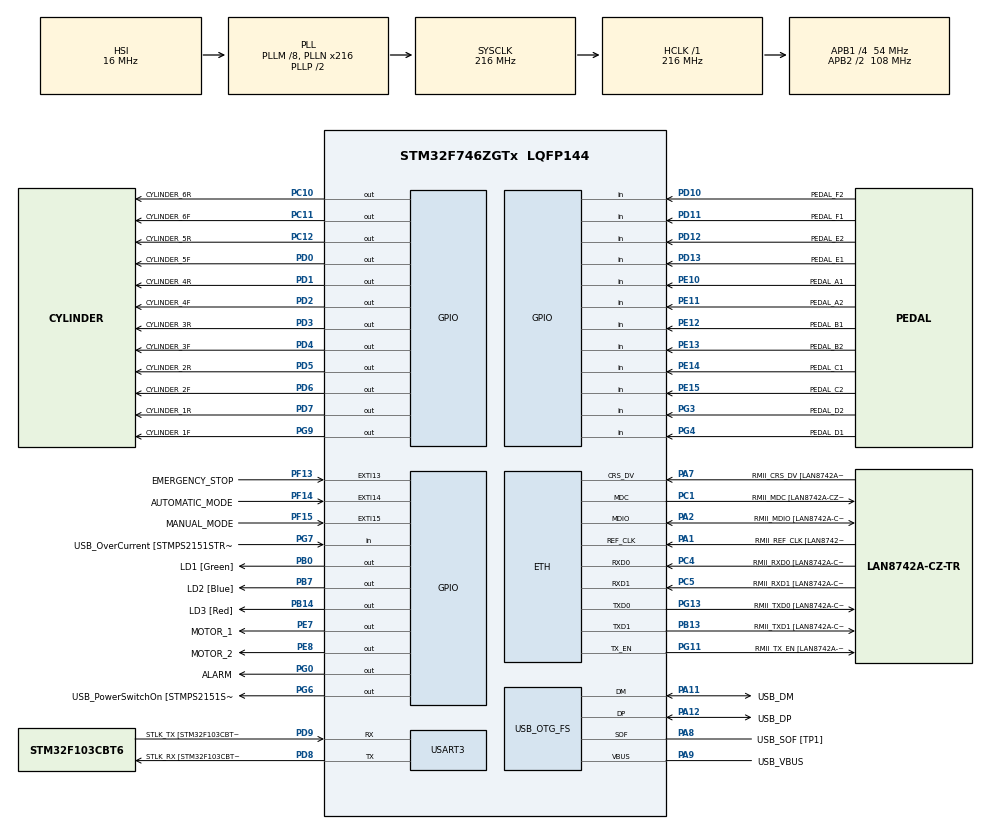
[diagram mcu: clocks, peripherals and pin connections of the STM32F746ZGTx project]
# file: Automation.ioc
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ETH.MediaInterface=ETH_MEDIA_INTERFACE_RMII
ETH.PHY_Name=LAN8742A_PHY_ADDRESS
ETH.PHY_Value=0
ETH.PhyAddress=0
Mcu.Family=STM32F7
Mcu.Name=STM32F746ZGTx
Mcu.Package=LQFP144
NVIC.EXTI15_10_IRQn=true\:0\:0\:false\:false\:true\:true\:true
NVIC.PriorityGroup=NVIC_PRIORITYGROUP_4
NVIC.TIM1_BRK_TIM9_IRQn=true\:0\:0\:false\:false\:true\:true\:true
NVIC.TIM1_CC_IRQn=true\:0\:0\:false\:false\:true\:true\:true
NVIC.TIM1_TRG_COM_TIM11_IRQn=true\:0\:0\:false\:false\:true\:true\:true
NVIC.TIM1_UP_TIM10_IRQn=true\:0\:0\:false\:false\:true\:true\:true
NVIC.TIM2_IRQn=true\:0\:0\:false\:false\:true\:true\:true
NVIC.TIM3_IRQn=true\:0\:0\:false\:false\:true\:true\:true
NVIC.TIM4_IRQn=true\:0\:0\:false\:false\:true\:true\:true
NVIC.TIM5_IRQn=true\:0\:0\:false\:false\:true\:true\:true
NVIC.TIM6_DAC_IRQn=true\:0\:0\:false\:false\:true\:true\:true
PA1.GPIO_Label=RMII_REF_CLK [LAN8742A-CZ-TR_REFCLK0]
PA1.Mode=RMII
PA1.Signal=ETH_REF_CLK
PA10.GPIO_Label=USB_ID
PA10.Signal=USB_OTG_FS_ID
PA11.GPIO_Label=USB_DM
PA11.Mode=Device_Only
PA11.Signal=USB_OTG_FS_DM
PA12.GPIO_Label=USB_DP
PA12.Mode=Device_Only
PA12.Signal=USB_OTG_FS_DP
PA13.GPIO_Label=TMS
PA13.Mode=Serial_Wire
PA13.Signal=SYS_JTMS-SWDIO
PA14.GPIO_Label=TCK
PA14.Mode=Serial_Wire
PA14.Signal=SYS_JTCK-SWCLK
PA2.GPIO_Label=RMII_MDIO [LAN8742A-CZ-TR_MDIO]
PA2.Mode=RMII
PA2.Signal=ETH_MDIO
PA7.GPIO_Label=RMII_CRS_DV [LAN8742A-CZ-TR_CRS_DV]
PA7.Mode=RMII
PA7.Signal=ETH_CRS_DV
PA8.GPIO_Label=USB_SOF [TP1]
PA8.Mode=Activate_SOF_FS
PA8.Signal=USB_OTG_FS_SOF
PA9.GPIO_Label=USB_VBUS
PA9.Mode=Activate_VBUS
PA9.Signal=USB_OTG_FS_VBUS
PB0.GPIO_Label=LD1 [Green]
PB0.Signal=GPIO_Output
PB13.GPIO_Label=RMII_TXD1 [LAN8742A-CZ-TR_TXD1]
PB13.Mode=RMII
PB13.Signal=ETH_TXD1
PB14.GPIO_Label=LD3 [Red]
PB14.Signal=GPIO_Output
PB3.GPIO_Label=SW0
PB3.Signal=SYS_JTDO-SWO
PB7.GPIO_Label=LD2 [Blue]
PB7.Signal=GPIO_Output
PC1.GPIO_Label=RMII_MDC [LAN8742A-CZ-TR_MDC]
PC1.Mode=RMII
PC1.Signal=ETH_MDC
PC10.GPIO_Label=CYLINDER_6R
PC10.Signal=GPIO_Output
PC11.GPIO_Label=CYLINDER_6F
PC11.Signal=GPIO_Output
PC12.GPIO_Label=CYLINDER_5R
PC12.Signal=GPIO_Output
PC14/OSC32_IN.Signal=RCC_OSC32_IN
PC15/OSC32_OUT.Signal=RCC_OSC32_OUT
PC4.GPIO_Label=RMII_RXD0 [LAN8742A-CZ-TR_RXD0]
PC4.Mode=RMII
PC4.Signal=ETH_RXD0
PC5.GPIO_Label=RMII_RXD1 [LAN8742A-CZ-TR_RXD1]
PC5.Mode=RMII
PC5.Signal=ETH_RXD1
PD0.GPIO_Label=CYLINDER_5F
PD0.Signal=GPIO_Output
PD1.GPIO_Label=CYLINDER_4R
PD1.Signal=GPIO_Output
PD10.GPIO_Label=PEDAL_F2
PD10.Signal=GPIO_Input
PD11.GPIO_Label=PEDAL_F1
PD11.Signal=GPIO_Input
PD12.GPIO_Label=PEDAL_E2
PD12.Signal=GPIO_Input
PD13.GPIO_Label=PEDAL_E1
PD13.Signal=GPIO_Input
PD2.GPIO_Label=CYLINDER_4F
PD2.Signal=GPIO_Output
PD3.GPIO_Label=CYLINDER_3R
PD3.Signal=GPIO_Output
PD4.GPIO_Label=CYLINDER_3F
PD4.Signal=GPIO_Output
PD5.GPIO_Label=CYLINDER_2R
PD5.Signal=GPIO_Output
PD6.GPIO_Label=CYLINDER_2F
PD6.Signal=GPIO_Output
PD7.GPIO_Label=CYLINDER_1R
PD7.Signal=GPIO_Output
PD8.GPIO_Label=STLK_RX [STM32F103CBT6_PA3]
PD8.Mode=Asynchronous
PD8.Signal=USART3_TX
PD9.GPIO_Label=STLK_TX [STM32F103CBT6_PA2]
PD9.Mode=Asynchronous
PD9.Signal=USART3_RX
PE10.GPIO_Label=PEDAL_A1
PE10.Signal=GPIO_Input
PE11.GPIO_Label=PEDAL_A2
PE11.Signal=GPIO_Input
PE12.GPIO_Label=PEDAL_B1
PE12.Signal=GPIO_Input
PE13.GPIO_Label=PEDAL_B2
PE13.Signal=GPIO_Input
PE14.GPIO_Label=PEDAL_C1
PE14.Signal=GPIO_Input
PE15.GPIO_Label=PEDAL_C2
PE15.Signal=GPIO_Input
PE7.GPIO_Label=MOTOR_1
PE7.Signal=GPIO_Output
PE8.GPIO_Label=MOTOR_2
PE8.Signal=GPIO_Output
PF13.GPIO_Label=EMERGENCY_STOP
PF13.Signal=GPXTI13
PF14.GPIO_Label=AUTOMATIC_MODE
PF14.Signal=GPXTI14
PF15.GPIO_Label=MANUAL_MODE
PF15.Signal=GPXTI15
PG0.GPIO_Label=ALARM
PG0.Signal=GPIO_Output
PG11.GPIO_Label=RMII_TX_EN [LAN8742A-CZ-TR_TXEN]
PG11.Mode=RMII
PG11.Signal=ETH_TX_EN
PG13.GPIO_Label=RMII_TXD0 [LAN8742A-CZ-TR_TXD0]
PG13.Mode=RMII
PG13.Signal=ETH_TXD0
PG3.GPIO_Label=PEDAL_D2
PG3.Signal=GPIO_Input
PG4.GPIO_Label=PEDAL_D1
PG4.Signal=GPIO_Input
PG6.GPIO_Label=USB_PowerSwitchOn [STMPS2151STR_EN]
PG6.Signal=GPIO_Output
PG7.GPIO_Label=USB_OverCurrent [STMPS2151STR_FAULT]
PG7.Signal=GPIO_Input
PG9.GPIO_Label=CYLINDER_1F
PG9.Signal=GPIO_Output
PH0/OSC_IN.GPIO_Label=MCO [STM32F103CBT6_PA8]
PH0/OSC_IN.Signal=RCC_OSC_IN
PH1/OSC_OUT.Signal=RCC_OSC_OUT
ProjectManager.HeapSize=0x200
ProjectManager.StackSize=0x400
ProjectManager.TargetToolchain=STM32CubeIDE
RCC.48MHZClocksFreq_Value=24000000
RCC.AHBFreq_Value=216000000
RCC.APB1CLKDivider=RCC_HCLK_DIV4
RCC.APB1Freq_Value=54000000
RCC.APB1TimFreq_Value=108000000
RCC.APB2CLKDivider=RCC_HCLK_DIV2
RCC.APB2Freq_Value=108000000
RCC.APB2TimFreq_Value=216000000
RCC.CortexFreq_Value=216000000
RCC.HCLKFreq_Value=216000000
RCC.HSE_VALUE=8000000
RCC.HSI_VALUE=16000000
RCC.PLLM=8
RCC.PLLMUL=RCC_PLL_MUL9
RCC.PLLN=216
RCC.PLLQ=12
RCC.PLLSourceVirtualString=RCC_PLLSOURCE_HSI
RCC.PRESCALERUSB=RCC_USBCLKSOURCE_PLL_DIV1_5
RCC.SYSCLKFreq_VALUE=216000000
RCC.SYSCLKSource=RCC_SYSCLKSOURCE_PLLCLK
RCC.SYSCLKSourceVirtual=RCC_SYSCLKSOURCE_PLLCLK
RCC.USBFreq_Value=36000000
RCC.VCOOutputFreq_Value=432000000
USART3.VirtualMode-Asynchronous=VM_ASYNC
USB_OTG_FS.VirtualMode=Device_Only
VP_TIM1_VS_ClockSourceINT.Mode=Internal
VP_TIM2_VS_ClockSourceINT.Mode=Internal
VP_TIM3_VS_ClockSourceINT.Mode=Internal
VP_TIM4_VS_ClockSourceINT.Mode=Internal
VP_TIM5_VS_ClockSourceINT.Mode=Internal
VP_TIM6_VS_ClockSourceINT.Mode=Enable_Timer
board=NUCLEO-F746ZG

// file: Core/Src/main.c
/* USER CODE BEGIN Header */
/**
  ******************************************************************************
  * @file           : main.c
  * @brief          : Main program body
  ******************************************************************************
  * @attention
  *
  * <h2><center>&copy; Copyright (c) 2020 STMicroelectronics.
  * All rights reserved.</center></h2>
  *
  * This software component is licensed by ST under BSD 3-Clause license,
  * the "License"; You may not use this file except in compliance with the
  * License. You may obtain a copy of the License at:
  *                        opensource.org/licenses/BSD-3-Clause
  *
  ******************************************************************************
  */
/* USER CODE END Header */

#include "main.h"
#include "eth.h"
#include "tim.h"
#include "usart.h"
#include "usb_otg.h"
#include "gpio.h"

/* USER CODE BEGIN Includes */
#include "stdbool.h"
/* USER CODE END Includes */

/* USER CODE BEGIN PV */

Pedal_s Pedal_status;
extern Pedal_s Pedal_data;
uint8_t Machine_Mode=AUTOMATIC;

/* USER CODE END PV */

void SystemClock_Config(void);

int main(void)
{

  /* MCU Configuration--------------------------------------------------------*/

  /* Reset of all peripherals, Initializes the Flash interface and the Systick. */
  HAL_Init();

  /* Configure the system clock */
  SystemClock_Config();

  /* Initialize all configured peripherals */
  MX_GPIO_Init();
  MX_ETH_Init();
  MX_TIM1_Init();
  MX_TIM2_Init();
  MX_TIM3_Init();
  MX_TIM4_Init();
  MX_TIM5_Init();
  MX_USART3_UART_Init();
  MX_USB_OTG_FS_PCD_Init();
  MX_TIM6_Init();
  /* USER CODE BEGIN 2 */
 while(1)
 {
		HAL_GPIO_WritePin(LD1_GPIO_Port, LD1_Pin, GPIO_PIN_SET);
			HAL_GPIO_WritePin(LD2_GPIO_Port, LD2_Pin, GPIO_PIN_SET);
			HAL_GPIO_WritePin(LD3_GPIO_Port, LD3_Pin, GPIO_PIN_SET);
			HAL_Delay(500);
			HAL_GPIO_WritePin(LD1_GPIO_Port, LD1_Pin, GPIO_PIN_RESET);
				HAL_GPIO_WritePin(LD2_GPIO_Port, LD2_Pin, GPIO_PIN_RESET);
				HAL_GPIO_WritePin(LD3_GPIO_Port, LD3_Pin, GPIO_PIN_RESET);
				HAL_Delay(500);
 }
  /* USER CODE END 2 */

  /* Infinite loop */
  while (1)
  {

    /* USER CODE BEGIN 3 */

	  switch (Machine_Mode)
	  {
	   case AUTOMATIC      : Run_AutomaticMode();
	                         break;

	   case MANUAL         : Run_ManualMode();
	  	  	  	  	         break;

	   case EMERGENCY_STOP : Stop_Machine();
	   	   	   	   	   	   	 break;

	   default             : break;
	  }

  }
  /* USER CODE END 3 */
}

void SystemClock_Config(void)
{
  RCC_OscInitTypeDef RCC_OscInitStruct = {0};
  RCC_ClkInitTypeDef RCC_ClkInitStruct = {0};
  RCC_PeriphCLKInitTypeDef PeriphClkInitStruct = {0};

  /** Configure the main internal regulator output voltage
  */
  __HAL_RCC_PWR_CLK_ENABLE();
  __HAL_PWR_VOLTAGESCALING_CONFIG(PWR_REGULATOR_VOLTAGE_SCALE1);
  /** Initializes the CPU, AHB and APB busses clocks
  */
  RCC_OscInitStruct.OscillatorType = RCC_OSCILLATORTYPE_HSI;
  RCC_OscInitStruct.HSIState = RCC_HSI_ON;
  RCC_OscInitStruct.HSICalibrationValue = RCC_HSICALIBRATION_DEFAULT;
  RCC_OscInitStruct.PLL.PLLState = RCC_PLL_ON;
  RCC_OscInitStruct.PLL.PLLSource = RCC_PLLSOURCE_HSI;
  RCC_OscInitStruct.PLL.PLLM = 8;
  RCC_OscInitStruct.PLL.PLLN = 216;
  RCC_OscInitStruct.PLL.PLLP = RCC_PLLP_DIV2;
  RCC_OscInitStruct.PLL.PLLQ = 12;
  if (HAL_RCC_OscConfig(&RCC_OscInitStruct) != HAL_OK)
  {
    Error_Handler();
  }
  /** Activate the Over-Drive mode
  */
  if (HAL_PWREx_EnableOverDrive() != HAL_OK)
  {
    Error_Handler();
  }
  /** Initializes the CPU, AHB and APB busses clocks
  */
  RCC_ClkInitStruct.ClockType = RCC_CLOCKTYPE_HCLK|RCC_CLOCKTYPE_SYSCLK
                              |RCC_CLOCKTYPE_PCLK1|RCC_CLOCKTYPE_PCLK2;
  RCC_ClkInitStruct.SYSCLKSource = RCC_SYSCLKSOURCE_PLLCLK;
  RCC_ClkInitStruct.AHBCLKDivider = RCC_SYSCLK_DIV1;
  RCC_ClkInitStruct.APB1CLKDivider = RCC_HCLK_DIV4;
  RCC_ClkInitStruct.APB2CLKDivider = RCC_HCLK_DIV2;

  if (HAL_RCC_ClockConfig(&RCC_ClkInitStruct, FLASH_LATENCY_7) != HAL_OK)
  {
    Error_Handler();
  }
  PeriphClkInitStruct.PeriphClockSelection = RCC_PERIPHCLK_USART3|RCC_PERIPHCLK_CLK48;
  PeriphClkInitStruct.Usart3ClockSelection = RCC_USART3CLKSOURCE_PCLK1;
  PeriphClkInitStruct.Clk48ClockSelection = RCC_CLK48SOURCE_PLL;
  if (HAL_RCCEx_PeriphCLKConfig(&PeriphClkInitStruct) != HAL_OK)
  {
    Error_Handler();
  }
}

void Error_Handler(void)
{
}

/************************ (C) COPYRIGHT STMicroelectronics *****END OF FILE****/
